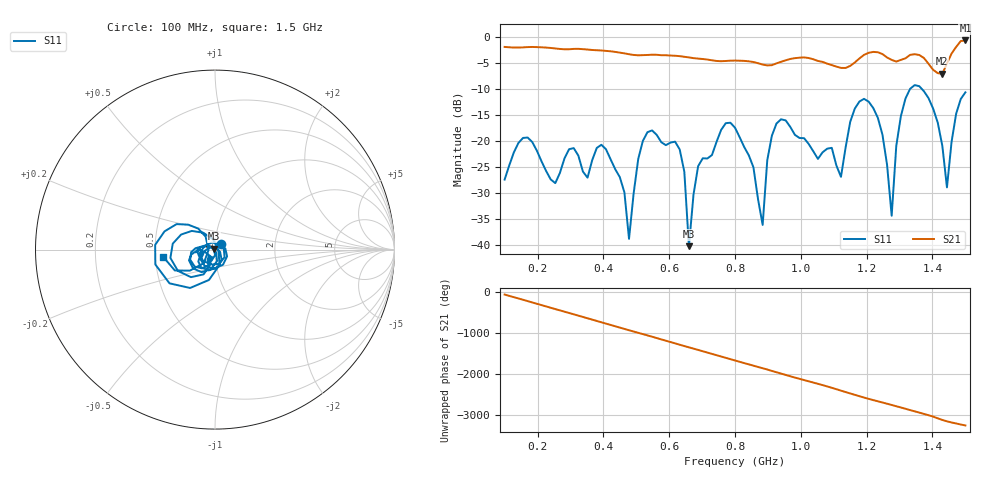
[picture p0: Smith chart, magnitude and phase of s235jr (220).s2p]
! NanoVNA-App
! Date: 2025-09-25 15:05:52
! Start: 100MHz Stop: 1,5GHz Points: 101
! S-Parameter data: F S11 S21 S12 S22
# Hz S RI R 50
!  Frequency  S11_Real  S11_Imag  S21_Real  S21_Imag  S12_Real  S12_Imag  S22_Real  S22_Imag
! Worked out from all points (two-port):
!   101 points, 100 MHz to 1.5 GHz, reference 50 ohm
!   highest |S21| = -0.72 dB at 1.5 GHz (marker M1); lowest = -7.1 dB at 1.43 GHz (marker M2)
!   |S21| within 3 dB of the highest: start of sweep to 629.2 MHz; 1.187 GHz to 1.256 GHz (68.87 MHz wide, 5.64 % of centre) (the widest 2 of 4)
!   lowest |S11| = -40.3 dB at 660 MHz (marker M3), VSWR 1.02, Z = 49.2 + j0.529 ohm
!   |S11| at or under -10 dB: start of sweep to 1.332 GHz; 1.367 GHz to end of sweep
!   S12 and S22 are empty: the file has one direction only
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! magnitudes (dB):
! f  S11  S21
! 100 MHz  -27.5  -2.0
! 156 MHz  -19.5  -2.1
! 338 MHz  -25.9  -2.4
! 408 MHz  -21.6  -2.7
! 478 MHz  -38.9  -3.4
! 520 MHz  -20.0  -3.5
! 576 MHz  -20.3  -3.6
! 632 MHz  -21.7  -3.7
! 660 MHz  -40.3  -4.0
! 688 MHz  -24.9  -4.2
! 800 MHz  -17.5  -4.6
! 884 MHz  -36.2  -5.4
! 926 MHz  -16.7  -5.1
! 1.038 GHz  -22.0  -4.3
! 1.122 GHz  -26.9  -6.0
! 1.206 GHz  -12.5  -3.1
! 1.276 GHz  -34.4  -4.5
! 1.29 GHz  -21.0  -4.8
! 1.332 GHz  -10.0  -3.5
! 1.43 GHz  -21.0  -7.1
! 1.444 GHz  -29.0  -5.1
! 1.5 GHz  -10.7  -0.7
